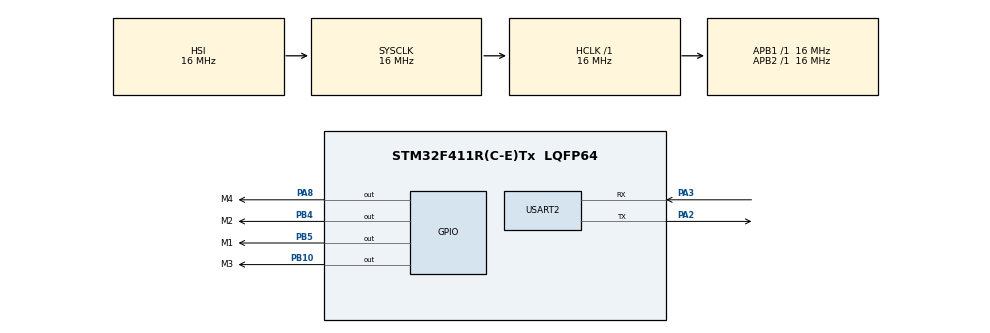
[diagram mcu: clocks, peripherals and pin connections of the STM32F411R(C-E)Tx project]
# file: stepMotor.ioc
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Mcu.Family=STM32F4
Mcu.Name=STM32F411R(C-E)Tx
Mcu.Package=LQFP64
NVIC.PriorityGroup=NVIC_PRIORITYGROUP_4
NVIC.USART2_IRQn=true\:0\:0\:false\:false\:true\:true\:true\:true
PA2.Mode=Asynchronous
PA2.Signal=USART2_TX
PA3.Mode=Asynchronous
PA3.Signal=USART2_RX
PA8.GPIO_Label=M4
PA8.Signal=GPIO_Output
PB10.GPIO_Label=M3
PB10.Signal=GPIO_Output
PB4.GPIO_Label=M2
PB4.Signal=GPIO_Output
PB5.GPIO_Label=M1
PB5.Signal=GPIO_Output
ProjectManager.HeapSize=0x200
ProjectManager.StackSize=0x400
ProjectManager.TargetToolchain=STM32CubeIDE
RCC.AHBFreq_Value=16000000
RCC.APB1Freq_Value=16000000
RCC.APB2Freq_Value=16000000
RCC.CortexFreq_Value=16000000
RCC.HSE_VALUE=25000000
RCC.HSI_VALUE=16000000
RCC.LSE_VALUE=32768
RCC.SYSCLKFreq_VALUE=16000000
RCC.VCOOutputFreq_Value=192000000
TIM11.Prescaler=16-1
USART2.VirtualMode=VM_ASYNC
VP_TIM11_VS_ClockSourceINT.Mode=Enable_Timer
board=custom

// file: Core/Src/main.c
/* USER CODE BEGIN Header */
/**
  ******************************************************************************
  * @file           : main.c
  * @brief          : Main program body
  ******************************************************************************
  * @attention
  *
  * Copyright (c) 2024 STMicroelectronics.
  * All rights reserved.
  *
  * This software is licensed under terms that can be found in the LICENSE file
  * in the root directory of this software component.
  * If no LICENSE file comes with this software, it is provided AS-IS.
  *
  ******************************************************************************
  */
/* USER CODE END Header */
#include "main.h"

/* USER CODE BEGIN Includes */
#include "uart.h"
#include "stdio.h"
/* USER CODE END Includes */

TIM_HandleTypeDef htim11;

UART_HandleTypeDef huart2;

void SystemClock_Config(void);
static void MX_GPIO_Init(void);
static void MX_USART2_UART_Init(void);
static void MX_TIM11_Init(void);

/* USER CODE BEGIN 0 */
void delayUs(uint16_t time){
	htim11.Instance->CNT = 0;
	while(htim11.Instance->CNT < time);
}

int _write(int file, char *ptr, int len){
	int DataIdx;
	for(DataIdx = 0; DataIdx < len; DataIdx++){
		ITM_SendChar(*ptr++);
	}
	return len;
}
/* USER CODE END 0 */

int main(void)
{

  /* MCU Configuration--------------------------------------------------------*/

  /* Reset of all peripherals, Initializes the Flash interface and the Systick. */
  HAL_Init();

  /* Configure the system clock */
  SystemClock_Config();

  /* Initialize all configured peripherals */
  MX_GPIO_Init();
  MX_USART2_UART_Init();
  MX_TIM11_Init();
  /* USER CODE BEGIN 2 */
  initUart(&huart2);
  HAL_TIM_Base_Start(&htim11);
  uint16_t delay = 10000;
  int8_t step = 0; // singed because line 120 step-- so can detect minus
  uint8_t direction = 0;
  uint8_t stepTable[] = {0b1010, 0b0110, 0b0101, 0b1001};
  /* USER CODE END 2 */

  /* Infinite loop */
  /* USER CODE BEGIN WHILE */
  while (1)
  {
  	HAL_GPIO_WritePin(M1_GPIO_Port, M1_Pin, (stepTable[step] >> 3) &1);
  	HAL_GPIO_WritePin(M2_GPIO_Port, M2_Pin, (stepTable[step] >> 2) &1);
  	HAL_GPIO_WritePin(M3_GPIO_Port, M3_Pin, (stepTable[step] >> 1) &1);
  	HAL_GPIO_WritePin(M4_GPIO_Port, M4_Pin, (stepTable[step] >> 0) &1);
  	if(direction == 1){
  		step++;
  		if(step == 4) step = 0;
  	}
  	else if(direction == 2){
  		step--;
  		if(step<0)step = 3;
  	}
  	delayUs(delay);
  	if(delay>1400) {
  		delay-=100;
  		printf("%d\n", delay);
  	}
  	//input the signal to terminal
  	char ch = 0;
  	ch = getChar();
  	if(ch == 'u') {
  		direction = 1;
  		delay = 10000;
  		step = 0;
  	}
  	if(ch=='d'){
  		direction = 2;
  		delay = 10000;
  		step = 0;
  	}
  	if(ch=='s'){
  		direction = 0;
  		step = 5;
  	}
    /* USER CODE END WHILE */

  }
}

void SystemClock_Config(void)
{
  RCC_OscInitTypeDef RCC_OscInitStruct = {0};
  RCC_ClkInitTypeDef RCC_ClkInitStruct = {0};

  /** Configure the main internal regulator output voltage
  */
  __HAL_RCC_PWR_CLK_ENABLE();
  __HAL_PWR_VOLTAGESCALING_CONFIG(PWR_REGULATOR_VOLTAGE_SCALE1);

  /** Initializes the RCC Oscillators according to the specified parameters
  * in the RCC_OscInitTypeDef structure.
  */
  RCC_OscInitStruct.OscillatorType = RCC_OSCILLATORTYPE_HSI;
  RCC_OscInitStruct.HSIState = RCC_HSI_ON;
  RCC_OscInitStruct.HSICalibrationValue = RCC_HSICALIBRATION_DEFAULT;
  RCC_OscInitStruct.PLL.PLLState = RCC_PLL_NONE;
  if (HAL_RCC_OscConfig(&RCC_OscInitStruct) != HAL_OK)
  {
    Error_Handler();
  }

  /** Initializes the CPU, AHB and APB buses clocks
  */
  RCC_ClkInitStruct.ClockType = RCC_CLOCKTYPE_HCLK|RCC_CLOCKTYPE_SYSCLK
                              |RCC_CLOCKTYPE_PCLK1|RCC_CLOCKTYPE_PCLK2;
  RCC_ClkInitStruct.SYSCLKSource = RCC_SYSCLKSOURCE_HSI;
  RCC_ClkInitStruct.AHBCLKDivider = RCC_SYSCLK_DIV1;
  RCC_ClkInitStruct.APB1CLKDivider = RCC_HCLK_DIV1;
  RCC_ClkInitStruct.APB2CLKDivider = RCC_HCLK_DIV1;

  if (HAL_RCC_ClockConfig(&RCC_ClkInitStruct, FLASH_LATENCY_0) != HAL_OK)
  {
    Error_Handler();
  }
}

static void MX_TIM11_Init(void)
{

  htim11.Instance = TIM11;
  htim11.Init.Prescaler = 16-1;
  htim11.Init.CounterMode = TIM_COUNTERMODE_UP;
  htim11.Init.Period = 65535;
  htim11.Init.ClockDivision = TIM_CLOCKDIVISION_DIV1;
  htim11.Init.AutoReloadPreload = TIM_AUTORELOAD_PRELOAD_DISABLE;
  if (HAL_TIM_Base_Init(&htim11) != HAL_OK)
  {
    Error_Handler();
  }

}

static void MX_USART2_UART_Init(void)
{

  huart2.Instance = USART2;
  huart2.Init.BaudRate = 115200;
  huart2.Init.WordLength = UART_WORDLENGTH_8B;
  huart2.Init.StopBits = UART_STOPBITS_1;
  huart2.Init.Parity = UART_PARITY_NONE;
  huart2.Init.Mode = UART_MODE_TX_RX;
  huart2.Init.HwFlowCtl = UART_HWCONTROL_NONE;
  huart2.Init.OverSampling = UART_OVERSAMPLING_16;
  if (HAL_UART_Init(&huart2) != HAL_OK)
  {
    Error_Handler();
  }

}

static void MX_GPIO_Init(void)
{
  GPIO_InitTypeDef GPIO_InitStruct = {0};

  /* GPIO Ports Clock Enable */
  __HAL_RCC_GPIOA_CLK_ENABLE();
  __HAL_RCC_GPIOB_CLK_ENABLE();

  /*Configure GPIO pin Output Level */
  HAL_GPIO_WritePin(GPIOB, M3_Pin|M2_Pin|M1_Pin, GPIO_PIN_RESET);

  /*Configure GPIO pin Output Level */
  HAL_GPIO_WritePin(M4_GPIO_Port, M4_Pin, GPIO_PIN_RESET);

  /*Configure GPIO pins : M3_Pin M2_Pin M1_Pin */
  GPIO_InitStruct.Pin = M3_Pin|M2_Pin|M1_Pin;
  GPIO_InitStruct.Mode = GPIO_MODE_OUTPUT_PP;
  GPIO_InitStruct.Pull = GPIO_NOPULL;
  GPIO_InitStruct.Speed = GPIO_SPEED_FREQ_LOW;
  HAL_GPIO_Init(GPIOB, &GPIO_InitStruct);

  /*Configure GPIO pin : M4_Pin */
  GPIO_InitStruct.Pin = M4_Pin;
  GPIO_InitStruct.Mode = GPIO_MODE_OUTPUT_PP;
  GPIO_InitStruct.Pull = GPIO_NOPULL;
  GPIO_InitStruct.Speed = GPIO_SPEED_FREQ_LOW;
  HAL_GPIO_Init(M4_GPIO_Port, &GPIO_InitStruct);

}

void Error_Handler(void)
{
  __disable_irq();
  while (1)
  {
  }
}
